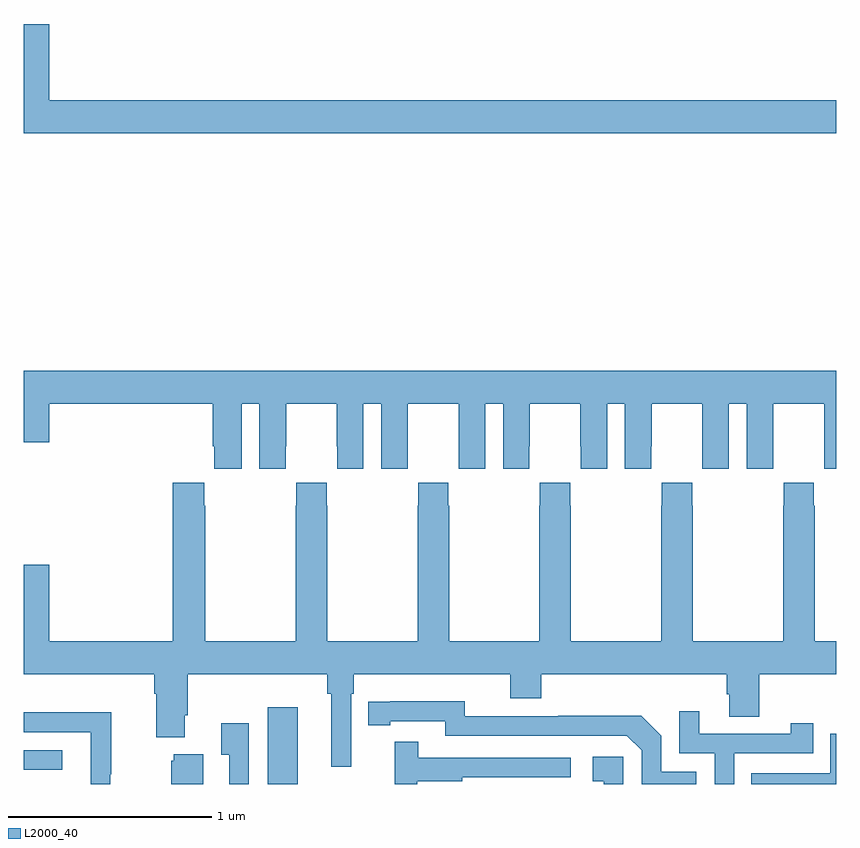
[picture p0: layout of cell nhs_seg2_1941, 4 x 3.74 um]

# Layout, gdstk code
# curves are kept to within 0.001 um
import gdstk
lib = gdstk.Library(unit=1e-6, precision=1e-09)
def R(c, l, rs):  # rectangles x0, y0, x1, y1
    for r in rs: c.add(gdstk.rectangle(r[:2], r[2:], *l))
def P(c, l, *ps):  # polygons
    for p in ps: c.add(gdstk.Polygon(p, *l))
L2000_40 = (2000, 40)

nhs_seg2_1941 = lib.new_cell('nhs_seg2_1941')
R(nhs_seg2_1941, L2000_40, [(214.202,609.8,214.348,610.177), (213,609.87,213.19,609.966)])
P(nhs_seg2_1941, L2000_40, [(217,613.168),(213.124,613.168),(213.124,613.543),(213,613.543),(213,613.004),(217,613.004)],
  [(213,611.484),(213.124,611.484),(213.124,611.672),(213.929,611.672),(213.929,611.464),(213.938,611.464),(213.938,611.352),(214.072,611.352),(214.072,611.672),(214.16,611.672),(214.16,611.352),(214.29,611.352),(214.29,611.464),(214.291,611.464),(214.291,611.672),(214.541,611.672),(214.541,611.464),(214.542,611.464),(214.542,611.352),(214.672,611.352),(214.672,611.672),(214.76,611.672),(214.76,611.352),(214.89,611.352),(214.89,611.464),(214.891,611.464),(214.891,611.672),(215.141,611.672),(215.141,611.464),(215.142,611.464),(215.142,611.352),(215.272,611.352),(215.272,611.672),(215.36,611.672),(215.36,611.352),(215.49,611.352),(215.49,611.464),(215.491,611.464),(215.491,611.672),(215.741,611.672),(215.741,611.464),(215.742,611.464),(215.742,611.352),(215.872,611.352),(215.872,611.672),(215.96,611.672),(215.96,611.352),(216.09,611.352),(216.09,611.464),(216.091,611.464),(216.091,611.672),(216.341,611.672),(216.341,611.464),(216.342,611.464),(216.342,611.352),(216.472,611.352),(216.472,611.672),(216.56,611.672),(216.56,611.352),(216.69,611.352),(216.69,611.464),(216.691,611.464),(216.691,611.672),(216.941,611.672),(216.941,611.464),(216.942,611.464),(216.942,611.352),(217,611.352),(217,611.836),(213,611.836)],
  [(213,610.879),(213,610.34),(213.641,610.34),(213.641,610.244),(213.653,610.244),(213.653,610.031),(213.793,610.031),(213.793,610.138),(213.806,610.138),(213.806,610.34),(214.495,610.34),(214.495,610.244),(214.514,610.244),(214.514,609.885),(214.611,609.885),(214.611,610.244),(214.625,610.244),(214.625,610.34),(215.396,610.34),(215.396,610.223),(215.549,610.223),(215.549,610.34),(216.461,610.34),(216.461,610.242),(216.473,610.242),(216.473,610.132),(216.621,610.132),(216.621,610.34),(217,610.34),(217,610.504),(216.894,610.504),(216.894,611.171),(216.891,611.171),(216.891,611.284),(216.741,611.284),(216.741,611.171),(216.739,611.171),(216.739,610.504),(216.294,610.504),(216.294,611.171),(216.291,611.171),(216.291,611.284),(216.141,611.284),(216.141,611.171),(216.139,611.171),(216.139,610.504),(215.694,610.504),(215.694,611.171),(215.691,611.171),(215.691,611.284),(215.541,611.284),(215.541,611.171),(215.539,611.171),(215.539,610.504),(215.094,610.504),(215.094,611.171),(215.091,611.171),(215.091,611.284),(214.941,611.284),(214.941,611.171),(214.939,611.171),(214.939,610.504),(214.494,610.504),(214.494,611.171),(214.491,611.171),(214.491,611.284),(214.341,611.284),(214.341,611.171),(214.339,611.171),(214.339,610.504),(213.894,610.504),(213.894,611.171),(213.887,611.171),(213.887,611.284),(213.734,611.284),(213.734,610.504),(213.124,610.504),(213.124,610.879)],
  [(216.312,609.861),(216.138,609.861),(216.138,610.038),(216.04,610.136),(215.632,610.136),(215.632,610.134),(215.172,610.134),(215.172,610.207),(214.696,610.206),(214.696,610.09),(214.804,610.09),(214.804,610.11),(215.076,610.11),(215.076,610.038),(215.97,610.038),(216.042,609.966),(216.042,609.8),(216.312,609.8)],
  [(216.498,609.951),(216.887,609.951),(216.887,610.099),(216.776,610.099),(216.776,610.047),(216.325,610.047),(216.325,610.159),(216.228,610.159),(216.228,609.951),(216.402,609.951),(216.402,609.8),(216.498,609.8)],
  [(213.426,609.847),(213.429,609.847),(213.429,610.154),(213,610.154),(213,610.056),(213.33,610.056),(213.33,609.8),(213.426,609.8)],
  [(214.107,610.099),(213.971,610.099),(213.971,609.943),(214.011,609.943),(214.011,609.8),(214.107,609.8)],
  [(217,610.047),(216.972,610.047),(216.972,609.852),(216.583,609.852),(216.583,609.8),(217,609.8)],
  [(214.936,609.814),(215.159,609.814),(215.159,609.834),(215.692,609.834),(215.692,609.93),(214.943,609.93),(214.943,610.009),(214.826,610.009),(214.826,609.8),(214.936,609.8)],
  [(213.883,609.946),(213.737,609.946),(213.737,609.915),(213.725,609.915),(213.725,609.8),(213.883,609.8)],
  [(215.952,609.934),(215.802,609.934),(215.802,609.813),(215.855,609.813),(215.855,609.8),(215.952,609.8)])

lib.write_gds('nhs_seg2_1941.gds')
